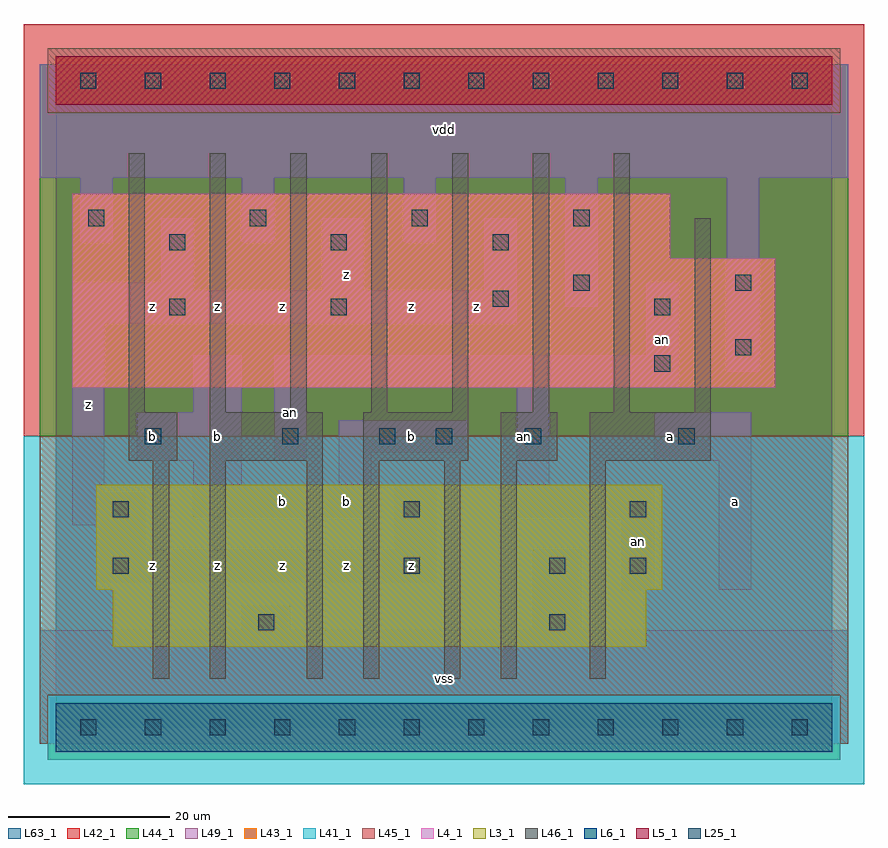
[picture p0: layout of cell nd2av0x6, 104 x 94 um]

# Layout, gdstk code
import gdstk
lib = gdstk.Library(unit=1e-6, precision=1e-09)
def R(c, l, rs):  # rectangles x0, y0, x1, y1
    for r in rs: c.add(gdstk.rectangle(r[:2], r[2:], *l))
def A(c, l, x, y, w, h, nx, ny, dx, dy):  # array of equal rectangles
    R(c, l, [(x+i*dx, y+j*dy, x+i*dx+w, y+j*dy+h) for i in range(nx) for j in range(ny)])
L3_1 = (3, 1)
L4_1 = (4, 1)
L5_1 = (5, 1)
L6_1 = (6, 1)
L25_1 = (25, 1)
L41_1 = (41, 1)
L42_1 = (42, 1)
L43_1 = (43, 1)
L44_1 = (44, 1)
L45_1 = (45, 1)
L46_1 = (46, 1)
L49_1 = (49, 1)
L63_1 = (63, 1)

nd2av0x6 = lib.new_cell('nd2av0x6')
R(nd2av0x6, L3_1, [(7,10,73,17), (5,17,75,30)])
R(nd2av0x6, L4_1, [(2,42,89,58), (2,58,76,66)])
R(nd2av0x6, L5_1, [(0,77,96,83)])
R(nd2av0x6, L6_1, [(0,-3,96,3), (0,-3,96,3)])
A(nd2av0x6, L25_1, 3, -1, 2, 2, 12, 2, 8, 80)
A(nd2av0x6, L25_1, 14, 59, 2, 2, 3, 1, 20, 0)
A(nd2av0x6, L25_1, 4, 62, 2, 2, 4, 1, 20, 0)
R(nd2av0x6, L25_1, [(25,12,27,14), (61,12,63,14), (7,19,9,21), (43,19,45,21), (61,19,63,21), (71,19,73,21), (7,26,9,28), (43,26,45,28), (71,26,73,28), (11,35,13,37), (28,35,30,37), (40,35,42,37), (47,35,49,37), (58,35,60,37), (77,35,79,37), (74,44,76,46), (84,46,86,48), (14,51,16,53), (34,51,36,53), (74,51,76,53), (54,52,56,54), (64,54,66,56), (84,54,86,56)])
R(nd2av0x6, L41_1, [(-4,-7,100,36)])
R(nd2av0x6, L42_1, [(-4,36,100,87)])
R(nd2av0x6, L43_1, [(0,-3,96,3), (7,10,73,17), (5,17,75,30), (2,42,89,58), (2,58,76,66), (0,77,96,83)])
R(nd2av0x6, L44_1, [(-1,-4,97,4), (-2,36,98,76), (-2,76,-1,82), (97,76,98,82)])
R(nd2av0x6, L45_1, [(-2,-2,-1,4), (97,-2,98,4), (-2,4,98,36), (-1,76,97,84)])
A(nd2av0x6, L46_1, 9, 39, 2, 32, 7, 1, 10, 0)
R(nd2av0x6, L46_1, [(12,6,14,33), (19,6,21,33), (31,6,33,33), (38,6,40,33), (48,6,50,33), (55,6,57,33), (66,6,68,33), (9,33,15,39), (19,33,33,39), (38,33,51,39), (55,33,62,39), (66,33,81,39), (79,39,81,63)])
A(nd2av0x6, L49_1, 3, 60, 4, 8, 3, 1, 20, 0)
R(nd2av0x6, L49_1, [(-2,-2,98,12), (23,12,29,15), (59,12,65,22), (70,17,74,26), (82,17,86,33), (5,18,47,22), (5,22,11,25), (42,22,47,30), (2,25,11,29), (17,26,39,30), (57,26,74,30), (2,29,6,50), (17,30,23,33), (35,30,39,34), (57,30,61,42), (10,33,23,39), (27,33,31,42), (74,33,86,39), (35,34,51,38), (17,39,23,46), (27,42,77,46), (83,44,87,68), (73,46,77,55), (2,50,57,54), (63,52,67,68), (2,54,17,55), (33,54,38,63), (53,54,57,63), (13,55,17,63), (-2,68,98,82)])
R(nd2av0x6, L63_1, [(0,0,96,80)])
nd2av0x6.add(gdstk.Label('an', (58,36), layer=49, texttype=1))
nd2av0x6.add(gdstk.Label('z', (12,20), layer=49, texttype=1))
nd2av0x6.add(gdstk.Label('z', (4,40), layer=49, texttype=1))
nd2av0x6.add(gdstk.Label('b', (12,36), layer=49, texttype=1))
nd2av0x6.add(gdstk.Label('z', (12,52), layer=49, texttype=1))
nd2av0x6.add(gdstk.Label('z', (20,20), layer=49, texttype=1))
nd2av0x6.add(gdstk.Label('z', (28,20), layer=49, texttype=1))
nd2av0x6.add(gdstk.Label('b', (28,28), layer=49, texttype=1))
nd2av0x6.add(gdstk.Label('an', (29,39), layer=49, texttype=1))
nd2av0x6.add(gdstk.Label('b', (20,36), layer=49, texttype=1))
nd2av0x6.add(gdstk.Label('z', (28,52), layer=49, texttype=1))
nd2av0x6.add(gdstk.Label('z', (20,52), layer=49, texttype=1))
nd2av0x6.add(gdstk.Label('vss', (48,6), layer=49, texttype=1))
nd2av0x6.add(gdstk.Label('z', (36,20), layer=49, texttype=1))
nd2av0x6.add(gdstk.Label('b', (36,28), layer=49, texttype=1))
nd2av0x6.add(gdstk.Label('z', (44,20), layer=49, texttype=1))
nd2av0x6.add(gdstk.Label('b', (44,36), layer=49, texttype=1))
nd2av0x6.add(gdstk.Label('z', (44,52), layer=49, texttype=1))
nd2av0x6.add(gdstk.Label('z', (52,52), layer=49, texttype=1))
nd2av0x6.add(gdstk.Label('z', (36,56), layer=49, texttype=1))
nd2av0x6.add(gdstk.Label('vdd', (48,74), layer=49, texttype=1))
nd2av0x6.add(gdstk.Label('an', (72,23), layer=49, texttype=1))
nd2av0x6.add(gdstk.Label('an', (59,36), layer=49, texttype=1))
nd2av0x6.add(gdstk.Label('a', (76,36), layer=49, texttype=1))
nd2av0x6.add(gdstk.Label('an', (75,48), layer=49, texttype=1))
nd2av0x6.add(gdstk.Label('a', (84,28), layer=49, texttype=1))

lib.write_gds('nd2av0x6.gds')
